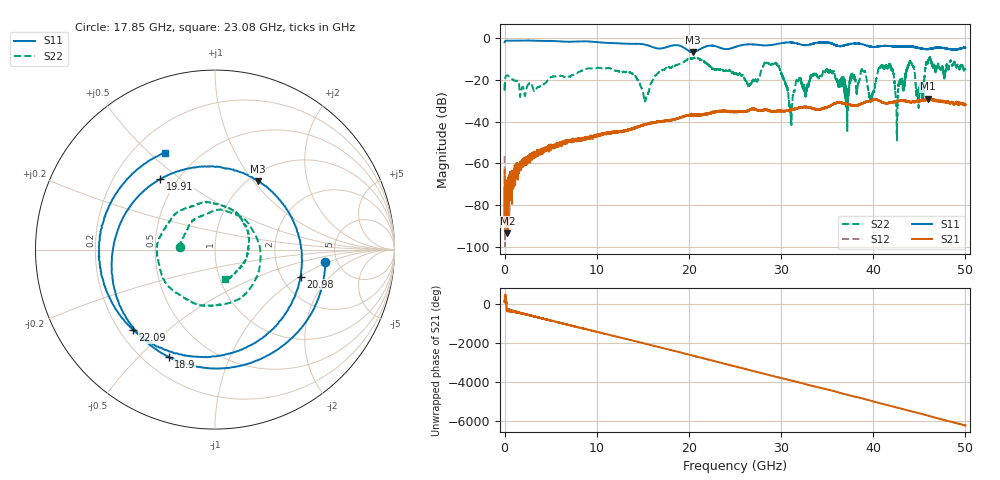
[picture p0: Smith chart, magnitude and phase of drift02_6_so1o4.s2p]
!Created with skrf (http://scikit-rf.org).
# Hz S RI R 50.0
!freq ReS11 ImS11 ReS21 ImS21 ReS12 ImS12 ReS22 ImS22
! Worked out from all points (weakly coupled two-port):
!   10001 points, 300 kHz to 50 GHz, reference 50 ohm
!   highest |S21| = -29.13 dB at 45.94 GHz (marker M1); lowest = -93.4 dB at 310.3 MHz (marker M2)
!   lowest |S11| = -7.0 dB at 20.41 GHz (marker M3), VSWR 2.63, Z = 55.1 + j52.5 ohm
!   |S11| at or under -10 dB: nowhere
!   |S22| runs from -49.0 to -9.1 dB; largest |S21 - S12| = 0.0031
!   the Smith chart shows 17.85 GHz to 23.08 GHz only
!   S11 on the Smith chart (normalised r, x): 17.85 GHz: 4.03, -0.90; 18.9 GHz: 0.30, -0.62; 19.91 GHz: 0.41, +0.42; 20.98 GHz: 2.54, -1.01; 22.09 GHz: 0.26, -0.39; 23.08 GHz: 0.33, +0.56
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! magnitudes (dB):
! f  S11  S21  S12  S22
! 300 kHz  -2.2  -63.0  -56.4  -21.9
! 310.3 MHz  -1.4  -93.4  -68.5  -18.0
! 8.335 GHz  -1.7  -48.2  -48.3  -15.8
! 15.3 GHz  -3.4  -41.2  -41.1  -29.5
! 16.67 GHz  -5.2  -40.2  -40.0  -16.8
! 17.85 GHz  -4.2  -39.6  -39.4  -14.1
! 18.9 GHz  -3.7  -38.4  -38.5  -12.6
! 19.91 GHz  -6.1  -37.0  -37.0  -10.3
! 20.41 GHz  -7.0  -36.9  -36.5  -9.9
! 20.98 GHz  -6.0  -36.5  -36.9  -9.8
! 22.09 GHz  -3.9  -35.9  -36.4  -12.8
! 23.08 GHz  -4.3  -35.0  -35.4  -15.1
! 25 GHz  -4.5  -35.7  -35.3  -17.2
! 29.5 GHz  -3.1  -34.9  -35.2  -12.5
! 31.04 GHz  -2.3  -34.2  -34.7  -36.1
! 33.34 GHz  -3.0  -33.6  -33.6  -18.0
! 38.92 GHz  -3.3  -31.1  -31.1  -15.9
! 39.77 GHz  -4.4  -30.1  -30.0  -29.5
! 41.67 GHz  -4.0  -31.0  -31.2  -13.2
! 42.58 GHz  -4.3  -30.6  -30.4  -45.7
! 45.94 GHz  -5.5  -29.1  -29.3  -11.5
! 50 GHz  -4.7  -31.7  -32.1  -14.9
